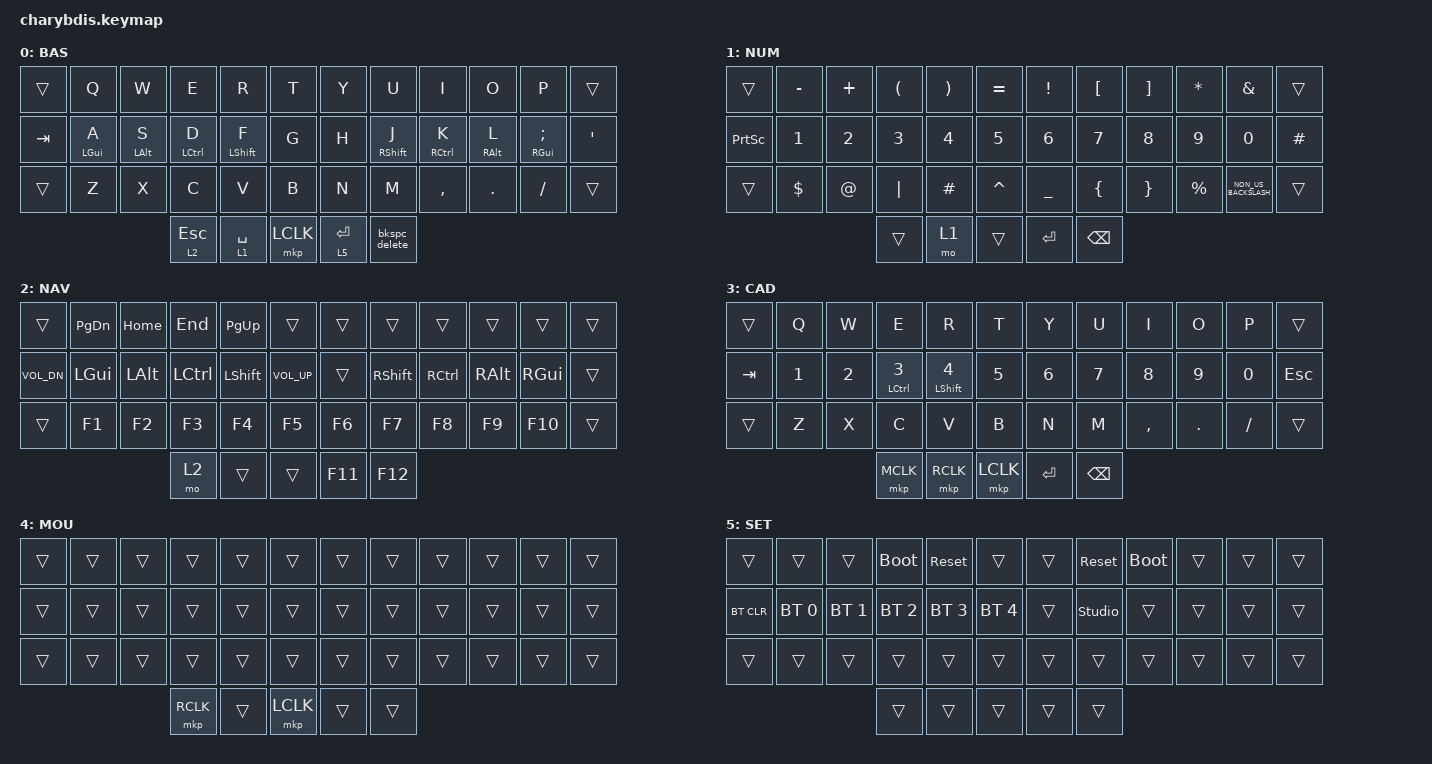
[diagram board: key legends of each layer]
#include <dt-bindings/zmk/mouse.h>
#include <behaviors/mouse_keys.dtsi>
#include <behaviors.dtsi>
#include <dt-bindings/zmk/bt.h>
#include <dt-bindings/zmk/keys.h>
#include <dt-bindings/zmk/pointing.h>

&lt {
    tapping-term-ms = <150>;
    quick-tap-ms = <100>;
    require-prior-idle-ms = <75>;
    flavor = "balanced";
    hold-trigger-key-positions = <37 36 39 40>;
    hold-trigger-on-release;
};

/ {
    /* input config for mouse move mode */

    trackball_listener {
        compatible = "zmk,input-behavior-listener";
        device = <&vtrackball>;
        layers = <0 4>;
        evt-type = <INPUT_EV_REL>;
        x-input-code = <INPUT_REL_X>;
        y-input-code = <INPUT_REL_Y>;
        scale-multiplier = <1>;
        scale-divisor = <6>;

        // bindings = <&ib_toggle_layer 4>;
    };

    /* input config for snipe mode */

    trackball_snipe_listener {
        compatible = "zmk,input-behavior-listener";
        device = <&vtrackball>;
        layers = <3>;
        evt-type = <INPUT_EV_REL>;
        x-input-code = <INPUT_REL_X>;
        y-input-code = <INPUT_REL_Y>;
        scale-multiplier = <1>;
        scale-divisor = <8>;
    };

    /* input config for mouse scroll mode */

    trackball_scroll_listener {
        compatible = "zmk,input-behavior-listener";
        device = <&vtrackball>;
        layers = <1>;
        evt-type = <INPUT_EV_REL>;
        x-input-code = <INPUT_REL_MISC>;
        y-input-code = <INPUT_REL_WHEEL>;
        scale-divisor = <8>;
        bindings = <&ib_wheel_scaler 1 14>;
    };

    trackball_arrow_listener {
        compatible = "zmk,input-behavior-listener";
        device = <&vtrackball>;
        layers = <2>; // Працює тільки на шарі 2
        evt-type = <INPUT_EV_REL>;
        x-input-code = <INPUT_REL_X>;
        y-input-code = <INPUT_REL_Y>;
        scale-multiplier = <1>;
        scale-divisor = <1>;
        bindings = <&ib_arrow_nav>; // Використовуємо наш новий behavior
    };

    /* define a resolution down scaler only for INPUT_REL_WHEEL */

    ib_wheel_scaler: ib_wheel_scaler {
        compatible = "zmk,input-behavior-scaler";
        #binding-cells = <2>;
        evt-type = <INPUT_EV_REL>;
        input-code = <INPUT_REL_WHEEL>;
    };

    /* adjust cooldown waiting period for mouse key layer after activated */

    ib_toggle_layer: ib_toggle_layer {
        compatible = "zmk,input-behavior-tog-layer";
        #binding-cells = <1>;
        time-to-live-ms = <500>;
    };

    ib_arrow_nav: ib_arrow_nav {
        compatible = "zmk,input-behavior-move-to-keypress";
        #binding-cells = <0>;
        threshold = <250>;
        x-threshold = < 200>;
        y-threshold = <300>;
        rate-limit-ms = <15>;
        reset-other-axis;
        bindings = <&kp RIGHT>, <&kp LEFT>, <&kp UP>, <&kp DOWN>;
    };

    // ╭──────┬──────┬──────┬──────┬──────┬──────╮  ╭──────┬──────┬──────┬──────┬──────┬──────╮
    //    00     01     02     03    04      05        06     07     08     09     10     11
    // ├──────┼──────┼──────┼──────┼──────┼──────┤  ├──────┼──────┼──────┼──────┼──────┼──────┤
    //    12     13     14     15    16      17        18     19     20     21     22     23
    // ├──────┼──────┼──────┼──────┼──────┼──────┤  ├──────┼──────┼──────┼──────┼──────┼──────┤
    //    24     25     26     27    28      29        30     31     32     33     34     35
    // ╰──────┴──────┴──────┼──────┼──────┼──────┤  ├──────┼──────┼──────┴──────┴──────┴──────╯
    //                         36     37     38        39     40
    //                      ╰──────┴──────┴──────╯  ╰──────┴──────╯

    #define BASE    0
    #define NUM     1
    #define NAV     2
    #define CAD     3
    #define MOU     4
    #define SET     5

    behaviors {
        left_ctrl_shift: left_ctrl_shift {
            compatible = "zmk,behavior-hold-tap";
            label = "LEFT_CTRL_SHIFT";
            bindings = <&kp>, <&kp>;

            #binding-cells = <2>;
            tapping-term-ms = <130>;
            quick-tap-ms = <75>;
            flavor = "balanced";
            hold-trigger-key-positions = <15 16>;
            require-prior-idle-ms = <50>;
            hold-trigger-on-release;
        };

        left_win_alt: left_win_alt {
            compatible = "zmk,behavior-hold-tap";
            label = "LEFT_WIN_ALT";
            bindings = <&kp>, <&kp>;

            #binding-cells = <2>;
            tapping-term-ms = <175>;
            quick-tap-ms = <100>;
            flavor = "balanced";
            require-prior-idle-ms = <75>;
            hold-trigger-on-release;
            hold-trigger-key-positions = <13 14>;
        };

        right_ctrl_shift: right_ctrl_shift {
            compatible = "zmk,behavior-hold-tap";
            label = "RIGHT_CTRL_SHIFT";
            bindings = <&kp>, <&kp>;

            #binding-cells = <2>;
            tapping-term-ms = <150>;
            quick-tap-ms = <100>;
            flavor = "balanced";
            require-prior-idle-ms = <75>;
            hold-trigger-on-release;
            hold-trigger-key-positions = <19 20>;
        };

        right_win_alt: right_win_alt {
            compatible = "zmk,behavior-hold-tap";
            label = "RIGHT_WIN_ALT";
            bindings = <&kp>, <&kp>;

            #binding-cells = <2>;
            tapping-term-ms = <225>;
            quick-tap-ms = <125>;
            flavor = "balanced";
            require-prior-idle-ms = <90>;
            hold-trigger-on-release;
            hold-trigger-key-positions = <22 21>;
        };

        bkspc_delete: bkspc_delete {
            compatible = "zmk,behavior-mod-morph";
            label = "BKSPC_DELETE";
            bindings = <&kp BACKSPACE>, <&kp DELETE>;

            #binding-cells = <0>;
            mods = <(MOD_LSFT|MOD_RCTL)>;
            keep-mods = <(MOD_RCTL)>;
        };

        // Крок 1: нічого -> ЛКМ, CTRL -> CTRL+ЛКМ
        // Крок 2: без ALT -> morph_ctrl, ALT -> ALT+ЛКМ  
        // Крок 3: без SHIFT -> morph_alt, SHIFT -> ПКМ
        // Крок 4: без WIN -> morph_shift, WIN -> ЦКМ
    };

    combos {
        compatible = "zmk,combos";

        cad_layer_toggle {
            bindings = <&tog 3>;
            key-positions = <12 23>;
            layers = <0 3>;
            require-prior-idle-ms = <25>;
            timeout-ms = <100>;
        };

        RMC {
            bindings = <&mkp RCLK>;
            key-positions = <16 38>;
            timeout-ms = <100>;
            require-prior-idle-ms = <25>;
            layers = <0>;
        };

        MMC {
            bindings = <&mkp MCLK>;
            key-positions = <38 15>;
            timeout-ms = <100>;
            require-prior-idle-ms = <25>;
            layers = <0>;
        };

        ctrl+shift+esc {
            bindings = <&kp RS(RC(ESCAPE))>;
            key-positions = <19 20 36>;
        };

        ctrl+alt+del {
            bindings = <&kp LA(LC(DELETE))>;
            key-positions = <14 15 40>;
        };

        cps_word {
            bindings = <&caps_word>;
            key-positions = <37 31 32>;
        };
    };

    keymap {
        compatible = "zmk,keymap";

        BASE {
            display-name = "BAS";
            bindings = <
&trans   &kp Q                     &kp W                     &kp E                     &kp R                          &kp T        &kp Y      &kp U                            &kp I                      &kp O                       &kp P                          &trans
&kp TAB  &left_win_alt LEFT_GUI A  &left_win_alt LEFT_ALT S  &left_ctrl_shift LCTRL D  &left_ctrl_shift LEFT_SHIFT F  &kp G        &kp H      &right_ctrl_shift RIGHT_SHIFT J  &right_ctrl_shift RCTRL K  &right_win_alt RIGHT_ALT L  &right_win_alt RIGHT_GUI SEMI  &kp SQT
&trans   &kp Z                     &kp X                     &kp C                     &kp V                          &kp B        &kp N      &kp M                            &kp COMMA                  &kp DOT                     &kp FSLH                       &trans
                                                             &lt 2 ESCAPE              &lt 1 SPACE                    &mkp LCLK    &lt 5 RET  &bkspc_delete
            >;
        };

        NUM {
            display-name = "NUM";
            bindings = <
&trans           &kp MINUS     &kp PLUS      &kp LEFT_PARENTHESIS  &kp RIGHT_PARENTHESIS  &kp EQUAL    &kp EXCLAMATION  &kp LEFT_BRACKET  &kp RIGHT_BRACKET  &kp ASTERISK  &kp AMPERSAND         &trans
&kp PRINTSCREEN  &kp NUMBER_1  &kp NUMBER_2  &kp NUMBER_3          &kp NUMBER_4           &kp N5       &kp NUMBER_6     &kp N7            &kp N8             &kp N9        &kp N0                &kp HASH
&trans           &kp DOLLAR    &kp AT_SIGN   &kp PIPE              &kp HASH               &kp CARET    &kp UNDERSCORE   &kp LEFT_BRACE    &kp RIGHT_BRACE    &kp PERCENT   &kp NON_US_BACKSLASH  &trans
                                             &trans                &mo 1                  &trans       &kp ENTER        &kp BSPC
            >;
        };

        NAV {
            display-name = "NAV";
            bindings = <
&trans        &kp PAGE_DOWN  &kp HOME      &kp END    &kp PG_UP       &trans             &trans   &trans           &trans     &trans         &trans         &trans
&kp C_VOL_DN  &kp LEFT_GUI   &kp LEFT_ALT  &kp LCTRL  &kp LEFT_SHIFT  &kp C_VOLUME_UP    &trans   &kp RIGHT_SHIFT  &kp RCTRL  &kp RIGHT_ALT  &kp RIGHT_GUI  &trans
&trans        &kp F1         &kp F2        &kp F3     &kp F4          &kp F5             &kp F6   &kp F7           &kp F8     &kp F9         &kp F10        &trans
                                           &mo 2      &trans          &trans             &kp F11  &kp F12
            >;
        };

        CAD {
            display-name = "CAD";
            bindings = <
&trans   &kp Q   &kp W         &kp E                            &kp R                                 &kp T        &kp Y      &kp U          &kp I      &kp O    &kp P     &trans
&kp TAB  &kp N1  &kp NUMBER_2  &left_ctrl_shift LCTRL NUMBER_3  &left_ctrl_shift LEFT_SHIFT NUMBER_4  &kp N5       &kp N6     &kp N7         &kp N8     &kp N9   &kp N0    &kp ESC
&trans   &kp Z   &kp X         &kp C                            &kp V                                 &kp B        &kp N      &kp M          &kp COMMA  &kp DOT  &kp FSLH  &trans
                               &mkp MCLK                        &mkp RCLK                             &mkp LCLK    &kp ENTER  &kp BACKSPACE
            >;
        };

        MOU {
            display-name = "MOU";
            bindings = <
&trans  &trans  &trans  &trans     &trans  &trans       &trans  &trans  &trans  &trans  &trans  &trans
&trans  &trans  &trans  &trans     &trans  &trans       &trans  &trans  &trans  &trans  &trans  &trans
&trans  &trans  &trans  &trans     &trans  &trans       &trans  &trans  &trans  &trans  &trans  &trans
                        &mkp RCLK  &trans  &mkp LCLK    &trans  &trans
            >;
        };

        SET {
            display-name = "SET";
            bindings = <
&trans      &trans        &trans        &bootloader   &sys_reset    &trans          &trans  &sys_reset      &bootloader  &trans  &trans  &trans
&bt BT_CLR  &bt BT_SEL 0  &bt BT_SEL 1  &bt BT_SEL 2  &bt BT_SEL 3  &bt BT_SEL 4    &trans  &studio_unlock  &trans       &trans  &trans  &trans
&trans      &trans        &trans        &trans        &trans        &trans          &trans  &trans          &trans       &trans  &trans  &trans
                                        &trans        &trans        &trans          &trans  &trans
            >;
        };
    };
};
